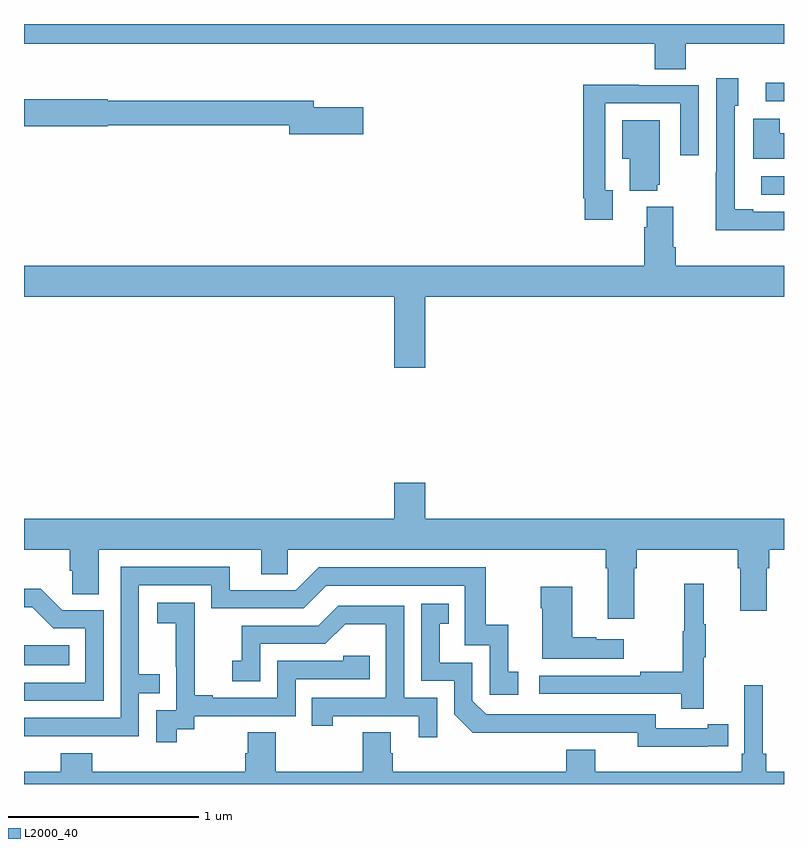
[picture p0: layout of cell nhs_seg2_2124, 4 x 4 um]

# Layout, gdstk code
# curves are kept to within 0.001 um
import gdstk
lib = gdstk.Library(unit=1e-6, precision=1e-09)
def R(c, l, rs):  # rectangles x0, y0, x1, y1
    for r in rs: c.add(gdstk.rectangle(r[:2], r[2:], *l))
def P(c, l, *ps):  # polygons
    for p in ps: c.add(gdstk.Polygon(p, *l))
L2000_40 = (2000, 40)

nhs_seg2_2124 = lib.new_cell('nhs_seg2_2124')
R(nhs_seg2_2124, L2000_40, [(223,584.426,223.238,584.53), (226.881,586.902,227,586.998), (226.905,587.394,227,587.492)])
P(nhs_seg2_2124, L2000_40, [(226.484,587.696),(227,587.696),(227,587.8),(223,587.8),(223,587.696),(226.319,587.696),(226.319,587.563),(226.484,587.563)],
  [(227,586.812),(226.837,586.812),(226.837,586.825),(226.74,586.825),(226.74,587.37),(226.759,587.37),(226.759,587.515),(226.644,587.515),(226.644,587.021),(226.642,587.021),(226.642,586.715),(227,586.715)],
  [(226.099,586.926),(226.059,586.926),(226.059,587.382),(226.455,587.382),(226.455,587.109),(226.551,587.109),(226.551,587.478),(226.235,587.478),(226.235,587.48),(225.943,587.48),(225.943,586.882),(225.951,586.882),(225.951,586.77),(226.099,586.77)],
  [(224.785,587.361),(224.524,587.361),(224.524,587.395),(223.44,587.395),(223.44,587.403),(223,587.403),(223,587.261),(223.44,587.261),(223.44,587.266),(224.396,587.266),(224.396,587.219),(224.785,587.219)],
  [(227,587.226),(226.977,587.226),(226.977,587.302),(226.838,587.302),(226.838,587.09),(227,587.09)],
  [(226.334,586.953),(226.345,586.953),(226.345,587.293),(226.148,587.293),(226.148,587.09),(226.187,587.09),(226.187,586.922),(226.334,586.922)],
  [(225.112,586.364),(227,586.364),(227,586.528),(226.43,586.528),(226.43,586.624),(226.417,586.624),(226.417,586.837),(226.277,586.837),(226.277,586.73),(226.265,586.73),(226.265,586.528),(223,586.528),(223,586.364),(224.948,586.364),(224.948,585.99),(225.112,585.99)],
  [(226.213,584.936),(226.226,584.936),(226.226,585.032),(226.757,585.032),(226.757,584.936),(226.769,584.936),(226.769,584.712),(226.909,584.712),(226.909,584.936),(226.922,584.936),(226.922,585.032),(227,585.032),(227,585.196),(225.112,585.196),(225.112,585.385),(224.948,585.385),(224.948,585.196),(223,585.196),(223,585.032),(223.241,585.032),(223.241,584.923),(223.254,584.923),(223.254,584.8),(223.393,584.8),(223.393,585.032),(224.249,585.032),(224.249,584.905),(224.388,584.905),(224.388,585.032),(226.061,585.032),(226.061,584.936),(226.073,584.936),(226.073,584.67),(226.213,584.67)],
  [(223.109,584.052),(223.605,584.052),(223.605,584.277),(223.715,584.277),(223.715,584.378),(223.605,584.378),(223.605,584.847),(223.986,584.847),(223.986,584.724),(224.472,584.724),(224.592,584.844),(225.321,584.844),(225.321,584.529),(225.45,584.529),(225.45,584.271),(225.601,584.271),(225.601,584.391),(225.548,584.391),(225.548,584.638),(225.43,584.638),(225.43,584.94),(224.55,584.94),(224.43,584.82),(224.083,584.82),(224.083,584.943),(223.509,584.943),(223.509,584.148),(223,584.148),(223,584.051)],
  [(226.577,584.467),(226.588,584.467),(226.588,584.641),(226.577,584.641),(226.577,584.854),(226.474,584.854),(226.474,584.604),(226.467,584.604),(226.467,584.39),(226.243,584.39),(226.243,584.37),(225.711,584.37),(225.711,584.274),(226.459,584.274),(226.459,584.196),(226.577,584.196)],
  [(226.156,584.563),(226.013,584.563),(226.013,584.573),(225.886,584.573),(225.886,584.839),(225.721,584.839),(225.721,584.726),(225.728,584.726),(225.728,584.459),(226.156,584.459)],
  [(223.419,584.715),(223.2,584.715),(223.087,584.828),(223,584.828),(223,584.73),(223.043,584.73),(223.154,584.619),(223.323,584.619),(223.323,584.334),(223,584.334),(223,584.238),(223.419,584.238)],
  [(223.804,584.089),(223.896,584.089),(223.896,584.157),(224.43,584.157),(224.43,584.352),(224.819,584.352),(224.819,584.475),(224.679,584.475),(224.679,584.448),(224.334,584.448),(224.334,584.253),(223.993,584.253),(223.993,584.266),(223.898,584.266),(223.898,584.549),(223.899,584.549),(223.899,584.755),(223.701,584.755),(223.701,584.645),(223.799,584.645),(223.799,584.417),(223.8,584.417),(223.8,584.187),(223.695,584.187),(223.695,584.019),(223.804,584.019)],
  [(226.598,583.998),(226.706,583.998),(226.706,584.114),(226.598,584.114),(226.598,584.094),(226.326,584.094),(226.326,584.166),(225.432,584.166),(225.36,584.238),(225.36,584.439),(225.187,584.439),(225.187,584.643),(225.236,584.643),(225.236,584.749),(225.09,584.749),(225.09,584.343),(225.264,584.343),(225.264,584.166),(225.362,584.069),(226.23,584.07),(226.23,583.997)],
  [(225.174,584.253),(225,584.253),(225,584.739),(224.654,584.739),(224.549,584.634),(224.146,584.634),(224.146,584.449),(224.097,584.449),(224.097,584.34),(224.244,584.34),(224.244,584.538),(224.586,584.538),(224.69,584.642),(224.904,584.642),(224.904,584.253),(224.515,584.253),(224.515,584.106),(224.626,584.106),(224.626,584.157),(225.077,584.157),(225.077,584.046),(225.174,584.046)],
  [(227,583.864),(226.907,583.864),(226.907,583.96),(226.888,583.96),(226.888,584.32),(226.791,584.32),(226.791,583.96),(226.778,583.96),(226.778,583.864),(226.006,583.864),(226.006,583.981),(225.854,583.981),(225.854,583.864),(224.942,583.864),(224.942,583.962),(224.929,583.962),(224.929,584.072),(224.782,584.072),(224.782,583.864),(224.325,583.864),(224.325,584.072),(224.177,584.072),(224.177,583.962),(224.165,583.962),(224.165,583.864),(223.358,583.864),(223.358,583.963),(223.193,583.963),(223.193,583.864),(223,583.864),(223,583.8),(227,583.8)])

lib.write_gds('nhs_seg2_2124.gds')
